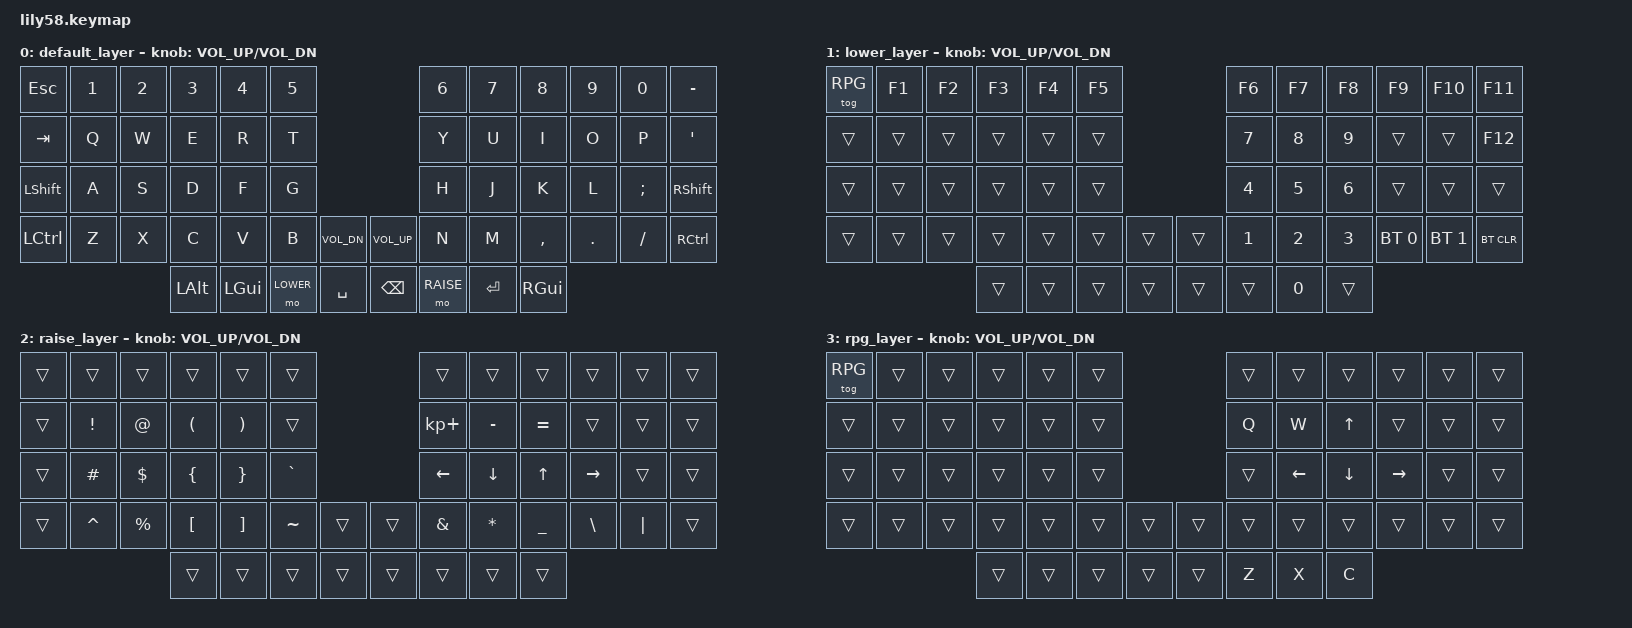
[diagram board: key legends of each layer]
/*
 * Copyright (c) 2020 The ZMK Contributors
 *
 * SPDX-License-Identifier: MIT
 */

#include <behaviors.dtsi>
#include <dt-bindings/zmk/keys.h>
#include <dt-bindings/zmk/bt.h>
#include <dt-bindings/zmk/ext_power.h>

#define DEFAULT 0
#define LOWER 1
#define RAISE 2
#define RPG 3

/ {
	keymap {
		compatible = "zmk,keymap";

		default_layer {
// ------------------------------------------------------------------------------------------------------------
// |  ESC  |  1  |  2  |  3   |  4   |  5   |                   |  6   |  7    |  8    |  9   |   0   |   `   |
// |  TAB  |  Q  |  W  |  E   |  R   |  T   |                   |  Y   |  U    |  I    |  O   |   P   |   -   |
// |  CTRL |  A  |  S  |  D   |  F   |  G   |                   |  H   |  J    |  K    |  L   |   ;   |   '   |
// | SHIFT |  Z  |  X  |  C   |  V   |  B   |   "["  |  |  "]"  |  N   |  M    |  ,    |  .   |   /   | SHIFT |
//                     | ALT  | GUI  | LOWER|  SPACE |  | BSPC  |RAISE | ENTER | GUI   |
			bindings = <
&kp ESC   &kp N1 &kp N2 &kp N3   &kp N4   &kp N5                             &kp N6 &kp N7   &kp N8    &kp N9  &kp N0   &kp MINUS
&kp TAB   &kp Q  &kp W  &kp E    &kp R    &kp T                              &kp Y  &kp U    &kp I     &kp O   &kp P    &kp SQT
&kp LSHFT &kp A  &kp S  &kp D    &kp F    &kp G                              &kp H  &kp J    &kp K     &kp L   &kp SEMI &kp RSHFT
&kp LCTRL &kp Z  &kp X  &kp C    &kp V    &kp B  &kp C_VOL_DN   &kp C_VOL_UP &kp N  &kp M    &kp COMMA &kp DOT &kp FSLH &kp RCTRL
                        &kp LALT &kp LGUI &mo LOWER  &kp SPACE      &kp BSPC &mo RAISE  &kp RET  &kp RGUI
			>;

			sensor-bindings = <&inc_dec_kp C_VOL_UP C_VOL_DN>;
		};

		lower_layer {
// ------------------------------------------------------------------------------------------------------------
// | BTCLR | BT1 | BT2 |  BT3 |  BT4 |  BT5 |                   |      |       |       |      |       |       |
// |  F1   |  F2 |  F3 |  F4  |  F5  |  F6  |                   |  F7  |  F8   |  F9   |  F10 |  F11  |  F12  |
// |   `   |  !  |  @  |  #   |  $   |  %   |                   |  ^   |  &    |  *    |  (   |   )   |   ~   |
// |       |     |     |      |      |      |        |  |       |      |  _    |  +    |  {   |   }   |  "|"  |
//                     |      |      |      |        |  |       |      |       |       |
			bindings = <
&tog RPG &kp F1 &kp F2 &kp F3 &kp F4 &kp F5                    &kp F6 &kp F7 &kp F8 &kp F9 &kp F10 &kp F11
&trans  &trans &trans &trans &trans &trans                     &kp N7 &kp N8 &kp N9 &trans &trans &kp F12
&trans  &trans &trans &trans &trans &trans                     &kp N4 &kp N5 &kp N6 &trans &trans &trans
&trans  &trans &trans &trans &trans &trans  &trans   &trans    &kp N1 &kp N2 &kp N3 &bt BT_SEL 0 &bt BT_SEL 1 &bt BT_CLR
                      &trans   &trans   &trans    &trans   &trans    &trans &kp N0 &trans
			>;

			sensor-bindings = <&inc_dec_kp C_VOL_UP C_VOL_DN>;
		};

		raise_layer {
// ------------------------------------------------------------------------------------------------------------
// |       |     |     |      |      |      |                   |      |       |       |      |       |       |
// |   `   |  1  |  2  |  3   |  4   |  5   |                   |  +   |   -   |   =   |      |       |       |
// |   F1  |  F2 |  F3 |  F4  |  F5  |  F6  |                   |  <    |   v  |   ^   |  >   |       |       |
// |   F7  |  F8 |  F9 |  F10 |  F11 |  F12 |        |  |       |      |       |       |      |       |   \   |
//                     |      |      |      |        |  |       |      |       |       |
			bindings = <
&trans    &trans     &trans     &trans    &trans    &trans                          &trans      &trans    &trans    &trans    &trans    &trans
&trans    &kp EXCL   &kp AT     &kp LPAR  &kp RPAR  &trans                          &kp KP_PLUS &kp MINUS &kp EQUAL &trans    &trans    &trans
&trans    &kp HASH   &kp DLLR   &kp LBRC  &kp RBRC  &kp GRAV                        &kp LEFT    &kp DOWN  &kp UP    &kp RIGHT &trans    &trans      
&trans    &kp CARET  &kp PRCNT  &kp LBKT  &kp RBKT  &kp TILDE   &trans   &trans     &kp AMPS    &kp ASTRK &kp UNDER &kp BSLH  &kp PIPE  &trans
                                      &trans  &trans  &trans    &trans   &trans     &trans      &trans    &trans
			>;

			sensor-bindings = <&inc_dec_kp C_VOL_UP C_VOL_DN>;
		};

		rpg_layer {
// ------------------------------------------------------------------------------------------------------------
// |       |     |     |      |      |      |                   |      |       |       |      |       |       |
// |   `   |  1  |  2  |  3   |  4   |  5   |                   |  +   |   -   |   =   |      |       |       |
// |   F1  |  F2 |  F3 |  F4  |  F5  |  F6  |                   |  <    |   v  |   ^   |  >   |       |       |
// |   F7  |  F8 |  F9 |  F10 |  F11 |  F12 |        |  |       |      |       |       |      |       |   \   |
//                     |      |      |      |        |  |       |      |       |       |
			bindings = <
&tog RPG  &trans     &trans     &trans    &trans    &trans                          &trans     &trans   &trans    &trans    &trans    &trans
&trans    &trans     &trans     &trans    &trans    &trans                          &kp Q      &kp W    &kp UP    &trans    &trans    &trans
&trans    &trans     &trans     &trans    &trans    &trans                          &trans     &kp LEFT &kp DOWN  &kp RIGHT &trans    &trans
&trans    &trans     &trans     &trans    &trans    &trans    &trans    &trans      &trans     &trans   &trans    &trans    &trans    &trans
                                      &trans  &trans  &trans    &trans   &trans     &kp Z      &kp X    &kp C
			>;

			sensor-bindings = <&inc_dec_kp C_VOL_UP C_VOL_DN>;
		};
	};
};
